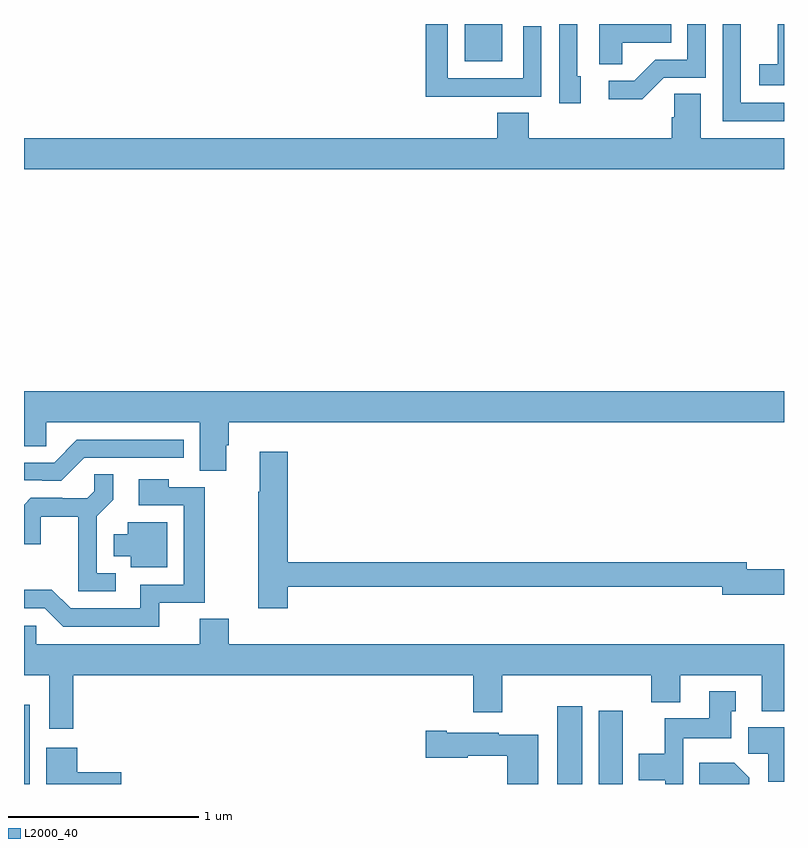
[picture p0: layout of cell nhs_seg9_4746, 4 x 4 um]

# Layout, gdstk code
import gdstk
lib = gdstk.Library(unit=1e-6, precision=1e-09)
def R(c, l, rs):  # rectangles x0, y0, x1, y1
    for r in rs: c.add(gdstk.rectangle(r[:2], r[2:], *l))
def P(c, l, *ps):  # polygons
    for p in ps: c.add(gdstk.Polygon(p, *l))
L2000_40 = (2000, 40)

nhs_seg9_4746 = lib.new_cell('nhs_seg9_4746')
R(nhs_seg9_4746, L2000_40, [(385,1210.5,385.029,1210.918), (387.806,1210.5,387.937,1210.909), (388.025,1210.5,388.15,1210.885), (387.32,1214.303,387.517,1214.5)])
P(nhs_seg9_4746, L2000_40, [(389,1214.085),(388.773,1214.085),(388.773,1214.5),(388.677,1214.5),(388.677,1213.989),(389,1213.989)],
  [(388.149,1214.402),(388.406,1214.402),(388.406,1214.5),(388.028,1214.5),(388.028,1214.287),(388.149,1214.287)],
  [(388.368,1214.217),(388.587,1214.217),(388.587,1214.5),(388.491,1214.5),(388.491,1214.313),(388.322,1214.313),(388.211,1214.202),(388.077,1214.202),(388.077,1214.105),(388.255,1214.105)],
  [(387.407,1214.118),(387.723,1214.118),(387.723,1214.488),(387.627,1214.488),(387.627,1214.214),(387.231,1214.214),(387.231,1214.5),(387.115,1214.5),(387.115,1214.117),(387.407,1214.117)],
  [(389,1214.5),(388.967,1214.5),(388.967,1214.287),(388.869,1214.287),(388.869,1214.177),(389,1214.177)],
  [(387.931,1214.226),(387.912,1214.226),(387.912,1214.5),(387.816,1214.5),(387.816,1214.082),(387.931,1214.082)],
  [(389,1213.9),(388.561,1213.9),(388.561,1214.132),(388.422,1214.132),(388.422,1214.009),(388.409,1214.009),(388.409,1213.9),(387.656,1213.9),(387.656,1214.033),(387.491,1214.033),(387.491,1213.9),(385,1213.9),(385,1213.736),(389,1213.736)],
  [(386.065,1212.282),(386.078,1212.282),(386.078,1212.404),(389,1212.404),(389,1212.568),(385,1212.568),(385,1212.277),(385.116,1212.277),(385.116,1212.404),(385.925,1212.404),(385.925,1212.148),(386.065,1212.148)],
  [(385.317,1212.216),(385.84,1212.216),(385.84,1212.312),(385.278,1212.312),(385.158,1212.192),(385,1212.192),(385,1212.099),(385.096,1212.099),(385.096,1212.096),(385.197,1212.096)],
  [(386.387,1211.538),(388.676,1211.538),(388.676,1211.495),(389,1211.495),(389,1211.63),(388.804,1211.63),(388.804,1211.666),(386.387,1211.666),(386.387,1212.25),(386.24,1212.25),(386.24,1212.037),(386.233,1212.037),(386.233,1211.424),(386.387,1211.424)],
  [(385.483,1211.61),(385.383,1211.61),(385.383,1211.909),(385.469,1211.995),(385.469,1212.131),(385.371,1212.131),(385.371,1212.04),(385.334,1212.003),(385.2,1212.003),(385.2,1212.006),(385.035,1212.006),(385,1211.971),(385,1211.763),(385.088,1211.763),(385.088,1211.906),(385.286,1211.906),(385.286,1211.514),(385.483,1211.514)],
  [(385.712,1211.454),(385.951,1211.454),(385.951,1212.063),(385.761,1212.063),(385.761,1212.103),(385.605,1212.103),(385.605,1211.967),(385.842,1211.967),(385.842,1211.55),(385.613,1211.55),(385.613,1211.424),(385.245,1211.424),(385.147,1211.523),(385,1211.523),(385,1211.424),(385.11,1211.424),(385.206,1211.328),(385.712,1211.328)],
  [(385.753,1211.878),(385.547,1211.878),(385.547,1211.815),(385.472,1211.815),(385.472,1211.699),(385.562,1211.699),(385.562,1211.642),(385.753,1211.642)],
  [(385.259,1211.072),(387.365,1211.072),(387.365,1210.878),(387.517,1210.878),(387.517,1211.072),(388.301,1211.072),(388.301,1210.931),(388.453,1210.931),(388.453,1211.072),(388.883,1211.072),(388.883,1210.883),(389,1210.883),(389,1211.236),(386.078,1211.236),(386.078,1211.369),(385.925,1211.369),(385.925,1211.236),(385.065,1211.236),(385.065,1211.334),(385,1211.334),(385,1211.072),(385.133,1211.072),(385.133,1210.791),(385.259,1210.791)],
  [(388.47,1210.742),(388.723,1210.742),(388.723,1210.884),(388.747,1210.884),(388.747,1210.987),(388.607,1210.987),(388.607,1210.846),(388.372,1210.846),(388.372,1210.66),(388.235,1210.66),(388.235,1210.52),(388.374,1210.52),(388.374,1210.5),(388.47,1210.5)],
  [(389,1210.798),(388.811,1210.798),(388.811,1210.66),(388.916,1210.66),(388.916,1210.512),(389,1210.512)],
  [(387.706,1210.759),(387.498,1210.759),(387.498,1210.771),(387.226,1210.771),(387.226,1210.779),(387.114,1210.779),(387.114,1210.637),(387.336,1210.637),(387.336,1210.649),(387.544,1210.649),(387.544,1210.5),(387.706,1210.5)],
  [(385.513,1210.562),(385.28,1210.562),(385.28,1210.69),(385.118,1210.69),(385.118,1210.5),(385.513,1210.5)],
  [(388.816,1210.534),(388.738,1210.612),(388.555,1210.612),(388.555,1210.5),(388.816,1210.5)])

lib.write_gds('nhs_seg9_4746.gds')
